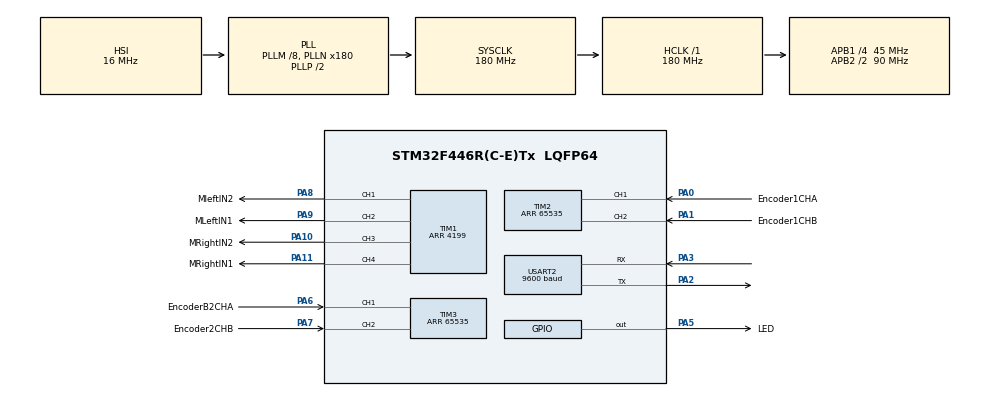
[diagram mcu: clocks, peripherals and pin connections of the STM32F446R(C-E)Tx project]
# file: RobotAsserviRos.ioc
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Mcu.Family=STM32F4
Mcu.Name=STM32F446R(C-E)Tx
Mcu.Package=LQFP64
NVIC.PriorityGroup=NVIC_PRIORITYGROUP_0
NVIC.TIM7_IRQn=true\:0\:0\:false\:false\:true\:true\:true
PA0-WKUP.GPIO_Label=Encoder1CHA
PA0-WKUP.Signal=S_TIM2_CH1_ETR
PA1.GPIO_Label=Encoder1CHB
PA1.Signal=S_TIM2_CH2
PA10.GPIO_Label=MRightIN2
PA10.Signal=S_TIM1_CH3
PA11.GPIO_Label=MRightIN1
PA11.Signal=S_TIM1_CH4
PA2.Mode=Asynchronous
PA2.Signal=USART2_TX
PA3.Mode=Asynchronous
PA3.Signal=USART2_RX
PA5.GPIO_Label=LED
PA5.Signal=GPIO_Output
PA6.GPIO_Label=EncoderB2CHA
PA6.Signal=S_TIM3_CH1
PA7.GPIO_Label=Encoder2CHB
PA7.Signal=S_TIM3_CH2
PA8.GPIO_Label=MleftIN2
PA8.Signal=S_TIM1_CH1
PA9.GPIO_Label=MLeftIN1
PA9.Signal=S_TIM1_CH2
ProjectManager.HeapSize=0x200
ProjectManager.StackSize=0x400
ProjectManager.TargetToolchain=MDK-ARM V5
RCC.48MHZClocksFreq_Value=84000000
RCC.AHBFreq_Value=180000000
RCC.APB1CLKDivider=RCC_HCLK_DIV4
RCC.APB1Freq_Value=45000000
RCC.APB1TimFreq_Value=90000000
RCC.APB2CLKDivider=RCC_HCLK_DIV2
RCC.APB2Freq_Value=90000000
RCC.APB2TimFreq_Value=180000000
RCC.CortexFreq_Value=180000000
RCC.FLatency-AdvancedSettings=FLASH_LATENCY_5
RCC.HCLKFreq_Value=180000000
RCC.HSE_VALUE=8000000
RCC.HSI_VALUE=16000000
RCC.PLLM=8
RCC.PLLN=180
RCC.SYSCLKFreq_VALUE=180000000
RCC.SYSCLKSource=RCC_SYSCLKSOURCE_PLLCLK
RCC.USBFreq_Value=180000000
RCC.VCOOutputFreq_Value=360000000
SH.S_TIM1_CH1.0=TIM1_CH1,PWM Generation1 CH1
SH.S_TIM1_CH2.0=TIM1_CH2,PWM Generation2 CH2
SH.S_TIM1_CH3.0=TIM1_CH3,PWM Generation3 CH3
SH.S_TIM1_CH4.0=TIM1_CH4,PWM Generation4 CH4
SH.S_TIM2_CH1_ETR.0=TIM2_CH1,Encoder_Interface
SH.S_TIM2_CH2.0=TIM2_CH2,Encoder_Interface
SH.S_TIM3_CH1.0=TIM3_CH1,Encoder_Interface
SH.S_TIM3_CH2.0=TIM3_CH2,Encoder_Interface
TIM1.Channel-PWM\ Generation1\ CH1=TIM_CHANNEL_1
TIM1.Channel-PWM\ Generation2\ CH2=TIM_CHANNEL_2
TIM1.Channel-PWM\ Generation3\ CH3=TIM_CHANNEL_3
TIM1.Channel-PWM\ Generation4\ CH4=TIM_CHANNEL_4
TIM1.Period=4199
TIM2.EncoderMode=TIM_ENCODERMODE_TI12
TIM2.Period=65535
TIM3.EncoderMode=TIM_ENCODERMODE_TI12
TIM3.Period=65535
TIM7.Period=999
TIM7.Prescaler=83
USART2.BaudRate=9600
USART2.VirtualMode=VM_ASYNC
VP_TIM7_VS_ClockSourceINT.Mode=Enable_Timer
board=NUCLEO-F446RE

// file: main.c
/* USER CODE BEGIN Header */
/**
  ******************************************************************************
  * @file           : main.c
  * @brief          : Main program body
  ******************************************************************************
  * @attention
  *
  * <h2><center>&copy; Copyright (c) 2020 STMicroelectronics.
  * All rights reserved.</center></h2>
  *
  * This software component is licensed by ST under BSD 3-Clause license,
  * the "License"; You may not use this file except in compliance with the
  * License. You may obtain a copy of the License at:
  *                        opensource.org/licenses/BSD-3-Clause
  *
  ******************************************************************************
  */
/* USER CODE END Header */

#include "main.h"

/* USER CODE BEGIN Includes */
#include <stdio.h>
#include <stdlib.h>
#include <string.h>
#include <math.h>
/* USER CODE END Includes */

TIM_HandleTypeDef htim1;
TIM_HandleTypeDef htim2;
TIM_HandleTypeDef htim3;
TIM_HandleTypeDef htim7;

UART_HandleTypeDef huart2;

/* USER CODE BEGIN PV */

#define resolution 221.1f
#define presicion 4
#define PI 3.1415f
#define RayonR 62.5f
#define RayonL 62.5f
#define entraxe 149.0f
#define coefK 300//200
#define TIMEINTERVAL 1 // 0.01
#define KV 350
#define KI 0.00009
#define KD 5000

int enter =0;
int CountEntry = 0;
unsigned int TicksRightNow = 0;
unsigned int TicksLeftNow = 0;
unsigned int TicksRightPrev = 0;
unsigned int TicksLeftPrev = 0;
float	DistR =0.0f;
float DistL =0.0f;
int DiffR = 0.0;
int DiffL= 0.0;
float dR = 0.0f;
float dL = 0.0f;
float dC = 0.0f;
double X = 0.0;
double Y = 0.0;
double PHI = 0.0;
double PHI_degrees = 0.0;
float TargetDistance;
float CrtlR;
float CrtlL;
float PMWbaseR=1500;//1000
float PMWbaseL=1500;//1000
float PMWR;
float PMWL;
float erreur;
float PMWRMAX=4100;//3000
float PMWLMAX=4100;//3000
float PMWRMIN=700;//1000
float PMWLMIN=700;//1000
char s[20];
char ExtInfo1[20];
char ExtInfo2[20];
char ExtInfo3[20];
float VelocityRight ;
float VelocityLeft;
float DfVR;
float DfVL;
float Rv;
float Lv;
float Vmin = 0.05;
float Vmax = 0.25;
float VLeft;
float VRight;
float distnowR;
float distnowL;
float distprevR;
float distprevL;
float erreurIR;
float erreurIL;
int testV = 0;
float erreurPrevDR =0;
float erreurNowR;
float erreurPrevDL=0;
float erreurNowL;
float difDerivaR;
float difDerivaL;

int ErrAngle ;
float VrightC =0.4, VleftC=0.4 ;
double result;

/* USER CODE END PV */

void SystemClock_Config(void);
static void MX_GPIO_Init(void);
static void MX_TIM1_Init(void);
static void MX_TIM2_Init(void);
static void MX_TIM3_Init(void);
static void MX_TIM7_Init(void);
static void MX_USART2_UART_Init(void);
/* USER CODE BEGIN PFP */
void initEncoder(void);
float tickstoDistance(int,float);
float rad_to_deg(double);
void CalculationFunction(void);
void initMotors(void);
void RunForward(int,int);
void RunBackward(int,int);
void RunToGoal(int,int);
void Rotate(int,int);
void stopp(void);
void VelocityControl(int,int);
void VelocityAsserv(float,float);
void VelocityAsserv2(float,float);
void gotoXY(float);
void gotoXY2(float,float,float );
void Trapezy(float , float  ,float  , float  );
void Move(int,int,int);
int checkStop(void);
int CompareString(uint8_t*,char*,int);
void DataConverting(uint8_t*);
void ExtractInfo(uint8_t* ,int );
void HAL_TIM_PeriodElapsedCallback(TIM_HandleTypeDef *htim)
		{
			if (htim->Instance==TIM7) //check if the interrupt comes from TIM7
				{
					CalculationFunction();
					CountEntry++;
					//HAL_GPIO_TogglePin(GPIOA,GPIO_PIN_5);
				}

	}
/* USER CODE END PFP */

/* USER CODE BEGIN 0 */
uint8_t data[20]="75.5 66.6 90.0a";
uint8_t dataIn[30] ;
char  DataOut[20];
uint8_t	TestIn [20]="75.5a66.6a90.5a";
float Tab = 0.0 ,Tab2 = 0.0 ,Tab3 = 0.0;

/* USER CODE END 0 */

int main(void)
{

  /* MCU Configuration--------------------------------------------------------*/

  /* Reset of all peripherals, Initializes the Flash interface and the Systick. */
  HAL_Init();

  /* Configure the system clock */
  SystemClock_Config();

  /* Initialize all configured peripherals */
  MX_GPIO_Init();
  MX_TIM1_Init();
  MX_TIM2_Init();
  MX_TIM3_Init();
  MX_TIM7_Init();
  MX_USART2_UART_Init();
  /* USER CODE BEGIN 2 */
   HAL_TIM_Base_Start_IT(&htim7);
	 initEncoder();
	 initMotors();
	 stopp();
	//VelocityAsserv(0.6,0.3);
	 //gotoXY2(900,500,0.0);
	// HAL_Delay(1000);
	// gotoXY2(0,0,0.0);
	 //Move(1000,2000,2000);
	 //RunForward(1500,1500);
	// HAL_Delay(2000);
	 stopp();
	 /*ExtractInfo(TestIn,20);
	 Tab = atof(ExtInfo1);
	 Tab2 = atof(ExtInfo2);
	 Tab3 = atof(ExtInfo3);*/
  /* USER CODE END 2 */

  /* Infinite loop */
  while (1)
  {

    /* USER CODE BEGIN 3 */

		 //Communication Test
		/*HAL_UART_Receive(&huart2,(uint8_t*)dataIn,10,100);
		result = CompareString(dataIn,"abc",4);
		if( result)
		{
		HAL_GPIO_TogglePin(GPIOA,GPIO_PIN_5);
		HAL_Delay(100);
		result =  0;
		}*/

		HAL_UART_Receive(&huart2,(uint8_t*)dataIn,20,100);
		ExtractInfo(dataIn,20);
		Tab = atof(ExtInfo1);
	    Tab2 = atof(ExtInfo2);
		Tab3 = atof(ExtInfo3);
				if (( Tab == 0.5f)&&( Tab2 == 0.2f)&&( Tab3 == 0.3f))
				{
				HAL_GPIO_TogglePin(GPIOA,GPIO_PIN_5);
				HAL_Delay(100);
				//for (int i = 0 ; i<30;i++) dataIn[i] = 0;
				}
		//HAL_UART_Transmit(&huart2,data,20,1000);

	}
  /* USER CODE END 3 */
}

void SystemClock_Config(void)
{
  RCC_OscInitTypeDef RCC_OscInitStruct = {0};
  RCC_ClkInitTypeDef RCC_ClkInitStruct = {0};

  /** Configure the main internal regulator output voltage
  */
  __HAL_RCC_PWR_CLK_ENABLE();
  __HAL_PWR_VOLTAGESCALING_CONFIG(PWR_REGULATOR_VOLTAGE_SCALE1);
  /** Initializes the CPU, AHB and APB busses clocks
  */
  RCC_OscInitStruct.OscillatorType = RCC_OSCILLATORTYPE_HSI;
  RCC_OscInitStruct.HSIState = RCC_HSI_ON;
  RCC_OscInitStruct.HSICalibrationValue = RCC_HSICALIBRATION_DEFAULT;
  RCC_OscInitStruct.PLL.PLLState = RCC_PLL_ON;
  RCC_OscInitStruct.PLL.PLLSource = RCC_PLLSOURCE_HSI;
  RCC_OscInitStruct.PLL.PLLM = 8;
  RCC_OscInitStruct.PLL.PLLN = 180;
  RCC_OscInitStruct.PLL.PLLP = RCC_PLLP_DIV2;
  RCC_OscInitStruct.PLL.PLLQ = 2;
  RCC_OscInitStruct.PLL.PLLR = 2;
  if (HAL_RCC_OscConfig(&RCC_OscInitStruct) != HAL_OK)
  {
    Error_Handler();
  }
  /** Activate the Over-Drive mode
  */
  if (HAL_PWREx_EnableOverDrive() != HAL_OK)
  {
    Error_Handler();
  }
  /** Initializes the CPU, AHB and APB busses clocks
  */
  RCC_ClkInitStruct.ClockType = RCC_CLOCKTYPE_HCLK|RCC_CLOCKTYPE_SYSCLK
                              |RCC_CLOCKTYPE_PCLK1|RCC_CLOCKTYPE_PCLK2;
  RCC_ClkInitStruct.SYSCLKSource = RCC_SYSCLKSOURCE_PLLCLK;
  RCC_ClkInitStruct.AHBCLKDivider = RCC_SYSCLK_DIV1;
  RCC_ClkInitStruct.APB1CLKDivider = RCC_HCLK_DIV4;
  RCC_ClkInitStruct.APB2CLKDivider = RCC_HCLK_DIV2;

  if (HAL_RCC_ClockConfig(&RCC_ClkInitStruct, FLASH_LATENCY_5) != HAL_OK)
  {
    Error_Handler();
  }
}

static void MX_TIM1_Init(void)
{

  TIM_MasterConfigTypeDef sMasterConfig = {0};
  TIM_OC_InitTypeDef sConfigOC = {0};
  TIM_BreakDeadTimeConfigTypeDef sBreakDeadTimeConfig = {0};

  htim1.Instance = TIM1;
  htim1.Init.Prescaler = 0;
  htim1.Init.CounterMode = TIM_COUNTERMODE_UP;
  htim1.Init.Period = 4199;
  htim1.Init.ClockDivision = TIM_CLOCKDIVISION_DIV1;
  htim1.Init.RepetitionCounter = 0;
  htim1.Init.AutoReloadPreload = TIM_AUTORELOAD_PRELOAD_DISABLE;
  if (HAL_TIM_PWM_Init(&htim1) != HAL_OK)
  {
    Error_Handler();
  }
  sMasterConfig.MasterOutputTrigger = TIM_TRGO_RESET;
  sMasterConfig.MasterSlaveMode = TIM_MASTERSLAVEMODE_DISABLE;
  if (HAL_TIMEx_MasterConfigSynchronization(&htim1, &sMasterConfig) != HAL_OK)
  {
    Error_Handler();
  }
  sConfigOC.OCMode = TIM_OCMODE_PWM1;
  sConfigOC.Pulse = 0;
  sConfigOC.OCPolarity = TIM_OCPOLARITY_HIGH;
  sConfigOC.OCNPolarity = TIM_OCNPOLARITY_HIGH;
  sConfigOC.OCFastMode = TIM_OCFAST_DISABLE;
  sConfigOC.OCIdleState = TIM_OCIDLESTATE_RESET;
  sConfigOC.OCNIdleState = TIM_OCNIDLESTATE_RESET;
  if (HAL_TIM_PWM_ConfigChannel(&htim1, &sConfigOC, TIM_CHANNEL_1) != HAL_OK)
  {
    Error_Handler();
  }
  if (HAL_TIM_PWM_ConfigChannel(&htim1, &sConfigOC, TIM_CHANNEL_2) != HAL_OK)
  {
    Error_Handler();
  }
  if (HAL_TIM_PWM_ConfigChannel(&htim1, &sConfigOC, TIM_CHANNEL_3) != HAL_OK)
  {
    Error_Handler();
  }
  if (HAL_TIM_PWM_ConfigChannel(&htim1, &sConfigOC, TIM_CHANNEL_4) != HAL_OK)
  {
    Error_Handler();
  }
  sBreakDeadTimeConfig.OffStateRunMode = TIM_OSSR_DISABLE;
  sBreakDeadTimeConfig.OffStateIDLEMode = TIM_OSSI_DISABLE;
  sBreakDeadTimeConfig.LockLevel = TIM_LOCKLEVEL_OFF;
  sBreakDeadTimeConfig.DeadTime = 0;
  sBreakDeadTimeConfig.BreakState = TIM_BREAK_DISABLE;
  sBreakDeadTimeConfig.BreakPolarity = TIM_BREAKPOLARITY_HIGH;
  sBreakDeadTimeConfig.AutomaticOutput = TIM_AUTOMATICOUTPUT_DISABLE;
  if (HAL_TIMEx_ConfigBreakDeadTime(&htim1, &sBreakDeadTimeConfig) != HAL_OK)
  {
    Error_Handler();
  }
  HAL_TIM_MspPostInit(&htim1);

}

static void MX_TIM2_Init(void)
{

  TIM_Encoder_InitTypeDef sConfig = {0};
  TIM_MasterConfigTypeDef sMasterConfig = {0};

  htim2.Instance = TIM2;
  htim2.Init.Prescaler = 0;
  htim2.Init.CounterMode = TIM_COUNTERMODE_UP;
  htim2.Init.Period = 65535;
  htim2.Init.ClockDivision = TIM_CLOCKDIVISION_DIV1;
  htim2.Init.AutoReloadPreload = TIM_AUTORELOAD_PRELOAD_DISABLE;
  sConfig.EncoderMode = TIM_ENCODERMODE_TI12;
  sConfig.IC1Polarity = TIM_ICPOLARITY_RISING;
  sConfig.IC1Selection = TIM_ICSELECTION_DIRECTTI;
  sConfig.IC1Prescaler = TIM_ICPSC_DIV1;
  sConfig.IC1Filter = 0;
  sConfig.IC2Polarity = TIM_ICPOLARITY_RISING;
  sConfig.IC2Selection = TIM_ICSELECTION_DIRECTTI;
  sConfig.IC2Prescaler = TIM_ICPSC_DIV1;
  sConfig.IC2Filter = 0;
  if (HAL_TIM_Encoder_Init(&htim2, &sConfig) != HAL_OK)
  {
    Error_Handler();
  }
  sMasterConfig.MasterOutputTrigger = TIM_TRGO_RESET;
  sMasterConfig.MasterSlaveMode = TIM_MASTERSLAVEMODE_DISABLE;
  if (HAL_TIMEx_MasterConfigSynchronization(&htim2, &sMasterConfig) != HAL_OK)
  {
    Error_Handler();
  }

}

static void MX_TIM3_Init(void)
{

  TIM_Encoder_InitTypeDef sConfig = {0};
  TIM_MasterConfigTypeDef sMasterConfig = {0};

  htim3.Instance = TIM3;
  htim3.Init.Prescaler = 0;
  htim3.Init.CounterMode = TIM_COUNTERMODE_UP;
  htim3.Init.Period = 65535;
  htim3.Init.ClockDivision = TIM_CLOCKDIVISION_DIV1;
  htim3.Init.AutoReloadPreload = TIM_AUTORELOAD_PRELOAD_DISABLE;
  sConfig.EncoderMode = TIM_ENCODERMODE_TI12;
  sConfig.IC1Polarity = TIM_ICPOLARITY_RISING;
  sConfig.IC1Selection = TIM_ICSELECTION_DIRECTTI;
  sConfig.IC1Prescaler = TIM_ICPSC_DIV1;
  sConfig.IC1Filter = 0;
  sConfig.IC2Polarity = TIM_ICPOLARITY_RISING;
  sConfig.IC2Selection = TIM_ICSELECTION_DIRECTTI;
  sConfig.IC2Prescaler = TIM_ICPSC_DIV1;
  sConfig.IC2Filter = 0;
  if (HAL_TIM_Encoder_Init(&htim3, &sConfig) != HAL_OK)
  {
    Error_Handler();
  }
  sMasterConfig.MasterOutputTrigger = TIM_TRGO_RESET;
  sMasterConfig.MasterSlaveMode = TIM_MASTERSLAVEMODE_DISABLE;
  if (HAL_TIMEx_MasterConfigSynchronization(&htim3, &sMasterConfig) != HAL_OK)
  {
    Error_Handler();
  }

}

static void MX_TIM7_Init(void)
{

  TIM_MasterConfigTypeDef sMasterConfig = {0};

  htim7.Instance = TIM7;
  htim7.Init.Prescaler = 90;
  htim7.Init.CounterMode = TIM_COUNTERMODE_UP;
  htim7.Init.Period = 999;
  htim7.Init.AutoReloadPreload = TIM_AUTORELOAD_PRELOAD_DISABLE;
  if (HAL_TIM_Base_Init(&htim7) != HAL_OK)
  {
    Error_Handler();
  }
  sMasterConfig.MasterOutputTrigger = TIM_TRGO_RESET;
  sMasterConfig.MasterSlaveMode = TIM_MASTERSLAVEMODE_DISABLE;
  if (HAL_TIMEx_MasterConfigSynchronization(&htim7, &sMasterConfig) != HAL_OK)
  {
    Error_Handler();
  }

}

static void MX_USART2_UART_Init(void)
{

  huart2.Instance = USART2;
  huart2.Init.BaudRate = 9600;
  huart2.Init.WordLength = UART_WORDLENGTH_8B;
  huart2.Init.StopBits = UART_STOPBITS_1;
  huart2.Init.Parity = UART_PARITY_NONE;
  huart2.Init.Mode = UART_MODE_TX_RX;
  huart2.Init.HwFlowCtl = UART_HWCONTROL_NONE;
  huart2.Init.OverSampling = UART_OVERSAMPLING_16;
  if (HAL_UART_Init(&huart2) != HAL_OK)
  {
    Error_Handler();
  }

}

static void MX_GPIO_Init(void)
{
  GPIO_InitTypeDef GPIO_InitStruct = {0};

  /* GPIO Ports Clock Enable */
  __HAL_RCC_GPIOA_CLK_ENABLE();

  /*Configure GPIO pin Output Level */
  HAL_GPIO_WritePin(LED_GPIO_Port, LED_Pin, GPIO_PIN_RESET);

  /*Configure GPIO pin : LED_Pin */
  GPIO_InitStruct.Pin = LED_Pin;
  GPIO_InitStruct.Mode = GPIO_MODE_OUTPUT_PP;
  GPIO_InitStruct.Pull = GPIO_NOPULL;
  GPIO_InitStruct.Speed = GPIO_SPEED_FREQ_LOW;
  HAL_GPIO_Init(LED_GPIO_Port, &GPIO_InitStruct);

}

/* USER CODE BEGIN 4 */
void initEncoder()
{
	HAL_TIM_Encoder_Start(&htim2,TIM_CHANNEL_1);
	HAL_TIM_Encoder_Start(&htim3,TIM_CHANNEL_1);
	TIM2->CNT = 0;
	TIM3->CNT = 0;

}
void RunForward(int VR,int VL)
{
	__HAL_TIM_SetCompare(&htim1,TIM_CHANNEL_1,VR);
	__HAL_TIM_SetCompare(&htim1,TIM_CHANNEL_2,0);
	__HAL_TIM_SetCompare(&htim1,TIM_CHANNEL_3,VL);
	__HAL_TIM_SetCompare(&htim1,TIM_CHANNEL_4,0);

}
void RunBackward(int VR,int VL)
{
	__HAL_TIM_SetCompare(&htim1,TIM_CHANNEL_1,0);
	__HAL_TIM_SetCompare(&htim1,TIM_CHANNEL_2,VR);
	__HAL_TIM_SetCompare(&htim1,TIM_CHANNEL_3,0);
	__HAL_TIM_SetCompare(&htim1,TIM_CHANNEL_4,VL);

}

void Rotate(int VR,int Sens)
{		if (Sens>0){
	__HAL_TIM_SetCompare(&htim1,TIM_CHANNEL_1,VR);
	__HAL_TIM_SetCompare(&htim1,TIM_CHANNEL_2,0);
	__HAL_TIM_SetCompare(&htim1,TIM_CHANNEL_3,0);
	__HAL_TIM_SetCompare(&htim1,TIM_CHANNEL_4,0);
			}
else{
	__HAL_TIM_SetCompare(&htim1,TIM_CHANNEL_1,0);
	__HAL_TIM_SetCompare(&htim1,TIM_CHANNEL_2,0);
	__HAL_TIM_SetCompare(&htim1,TIM_CHANNEL_3,VR);
	__HAL_TIM_SetCompare(&htim1,TIM_CHANNEL_4,0);
}

}
void RunToGoal(int VR,int VL)
{

	if ((VR>0)&&(VL>0)){
	__HAL_TIM_SetCompare(&htim1,TIM_CHANNEL_1,VR);
	__HAL_TIM_SetCompare(&htim1,TIM_CHANNEL_2,0);
	__HAL_TIM_SetCompare(&htim1,TIM_CHANNEL_3,VL);
	__HAL_TIM_SetCompare(&htim1,TIM_CHANNEL_4,0);
			}
else if ((VR<0)&&(VL>0)) {
	__HAL_TIM_SetCompare(&htim1,TIM_CHANNEL_1,0);
	__HAL_TIM_SetCompare(&htim1,TIM_CHANNEL_2,-VR);
	__HAL_TIM_SetCompare(&htim1,TIM_CHANNEL_3,VL);
	__HAL_TIM_SetCompare(&htim1,TIM_CHANNEL_4,0);
}
else if ((VR>0)&&(VL<0)) {
	__HAL_TIM_SetCompare(&htim1,TIM_CHANNEL_1,VR);
	__HAL_TIM_SetCompare(&htim1,TIM_CHANNEL_2,0);
	__HAL_TIM_SetCompare(&htim1,TIM_CHANNEL_3,0);
	__HAL_TIM_SetCompare(&htim1,TIM_CHANNEL_4,-VL);
}

else if ((VR<0)&&(VL<0)) {
	__HAL_TIM_SetCompare(&htim1,TIM_CHANNEL_1,0);
	__HAL_TIM_SetCompare(&htim1,TIM_CHANNEL_2,-VR);
	__HAL_TIM_SetCompare(&htim1,TIM_CHANNEL_3,0);
	__HAL_TIM_SetCompare(&htim1,TIM_CHANNEL_4,-VL);
}

}

void stopp()
{
	__HAL_TIM_SetCompare(&htim1,TIM_CHANNEL_1,0);
	__HAL_TIM_SetCompare(&htim1,TIM_CHANNEL_2,0);
	__HAL_TIM_SetCompare(&htim1,TIM_CHANNEL_3,0);
	__HAL_TIM_SetCompare(&htim1,TIM_CHANNEL_4,0);
}
void initMotors()
{
	HAL_TIM_PWM_Start(&htim1,TIM_CHANNEL_1);
	HAL_TIM_PWM_Start(&htim1,TIM_CHANNEL_2);
	HAL_TIM_PWM_Start(&htim1,TIM_CHANNEL_3);
	HAL_TIM_PWM_Start(&htim1,TIM_CHANNEL_4);
	stopp();

}
float tickstoDistance(int ticks,float R)
{
	return((PI*R*ticks)/(resolution*presicion));
}
float rad_to_deg(double x){
			return(x*360/(2*PI));
		}
float deg_to_rad(double x){
			return(x*PI/(180));
		}
void CalculationFunction()
{

			TicksRightNow = TIM2->CNT ;
			TicksLeftNow = TIM3->CNT ;

			//DistR = tickstoDistance(TicksRightNow,RayonR);
			//DistL = tickstoDistance(TicksLeftNow,RayonL);

			DiffR = (TicksRightNow - TicksRightPrev);
			DiffL =(TicksLeftNow - TicksLeftPrev);
			TicksRightPrev = TicksRightNow;
			TicksLeftPrev  = TicksLeftNow;

			if (DiffR > 50000)
			{
			   DiffR = DiffR - 65535 ;
			}
			else if (DiffR < -50000)
			{
			   DiffR = DiffR + 65535 ;
			}

			if (DiffL > 50000)
			{
			   DiffL = DiffL - 65535 ;
			}
			else if (DiffL < -50000)
			{
			   DiffL = DiffL + 65535 ;
			}

			dR = tickstoDistance(DiffR,RayonR);
			dL = tickstoDistance(DiffL,RayonL);
			dC = (dR + dL)/2;

			DistR += dR;
			DistL += dL;
		//	if (CountEntry >1)
		//	{
				distnowR = DistR;
				distnowL = DistL;
			//VelocityRight = ((distnowR - distprevR) * 0.001) / (1000*TIMEINTERVAL) ;
			//VelocityLeft =  ((distnowL - distprevL) * 0.001) / (1000*TIMEINTERVAL) ;
			VelocityRight = ((distnowR - distprevR) * 0.001) / (0.001*TIMEINTERVAL) ;
			VelocityLeft =  ((distnowL - distprevL) * 0.001) / (0.001*TIMEINTERVAL) ;
				//CountEntry = 0;
				distprevR = DistR;
				distprevL = DistL;
				enter++;
		//	}
			// odometry :
			X += dC*cos(PHI);
			Y += dC*sin(PHI);
			PHI += ((dR-dL)/entraxe);
			PHI_degrees = rad_to_deg(PHI);
			while (PHI>PI)
			{
				PHI -= 2*PI;
			}
			while (PHI<-PI)
			{
				PHI += 2*PI;
			}

}

void VelocityControl(int VR,int VL)
{
	if (VR>PMWRMAX)  PMWR = PMWRMAX;
	if (VL>PMWLMAX)  PMWL = PMWLMAX;
	if (VR<PMWRMIN)  PMWR = PMWRMIN;
	if (VL<PMWLMIN)  PMWL = PMWLMIN;

}
int checkStop()
{
	if ((DistR<TargetDistance-3) || (DistL<TargetDistance-3)) return (1);
	else if ((DistR>TargetDistance+5) || (DistL>TargetDistance+5)) return (1);
	else  return (0);

}
int signe(float x)
{
	if (x>0) return (1);
	if (x<0) return (-1);
	else return (0);
}

void Trapezy(float VRM , float VLM ,float Tar , float DistBegin )
{
	if (fabs(DistR) <= fabs(DistBegin)) PMWR = PMWbaseR + ((VRM-PMWbaseR)/DistBegin) * DistR;
	if (fabs(DistL) <= fabs(DistBegin)) PMWL = PMWbaseR + ((VLM-PMWbaseL)/DistBegin) * DistL;

	if (fabs(DistR) > fabs(Tar) - fabs(DistBegin)) PMWR = VRM - ((VRM-PMWbaseR)/DistBegin) * (DistR -(fabs(Tar) - fabs(DistBegin)));
	if (fabs(DistL) > fabs(Tar) - fabs(DistBegin)) PMWL = VLM - ((VLM-PMWbaseL)/DistBegin) * (DistL -(fabs(Tar) - fabs(DistBegin)));

}
void VelocityAsserv(float V1 ,float V2 )
{
	//PMWbaseR*=signe(PMWbaseR);
	//PMWbaseL*=signe(PMWbaseL);
	PMWR = PMWbaseR;
	PMWL = PMWbaseL;

		RunToGoal(PMWbaseR,PMWbaseL);
	  while (1)//(DistR < 1000)
		{ //Trapezy(500);
			DfVR =  V1-VelocityRight  ;
			DfVL = V2-VelocityLeft ;
			if (DfVR>10) testV = 12;
			else testV = 1;
			if (DfVL>10) testV=12 ;
			else testV=1;
			erreurIR += DfVR;
			erreurIL += DfVL;
			difDerivaR =  erreurNowR-erreurPrevDR ;
			difDerivaL =  erreurNowL-erreurPrevDL ;
			Rv = KV*DfVR + KI * erreurIR +KD * difDerivaR;
			Lv = KV*DfVL + KI * erreurIL +KD * difDerivaL;

			PMWR = PMWR + Rv ;
			PMWL = PMWL + Lv ;
			VelocityControl(PMWR,PMWL);
			RunToGoal(PMWR,PMWL);

		}
		stopp();

}

/*void roll (float angle )
{	int sens;
	float DistanceToGo = (entraxe/2) * deg_to_rad(angle) ;
	if (angle>0) sens = 1;
	else sens = -1;

	while ((DistR < DistanceToGo-2) &&)
}*/
void VelocityAsserv2(float V1 ,float V2 )
{
	//PMWbaseR*=signe(PMWbaseR);
	//PMWbaseL*=signe(PMWbaseL);
	PMWR = PMWbaseR;
	PMWL = PMWbaseL;

	  //(DistR < 1000)
		 //Trapezy(500);
			DfVR =  V1-VelocityRight  ;
			DfVL = V2-VelocityLeft ;
			if (DfVR>10) testV = 12;
			else testV = 1;
			if (DfVL>10) testV=12 ;
			else testV=1;
			erreurIR += DfVR;
			erreurIL += DfVL;
			difDerivaR =  erreurNowR-erreurPrevDR ;
			difDerivaL =  erreurNowL-erreurPrevDL ;
			Rv = KV*DfVR + KI * erreurIR +KD * difDerivaR;
			Lv = KV*DfVL + KI * erreurIL +KD * difDerivaL;
			if (V1 == 0.0) PMWR = 0.0;
			if (V2 == 0.0) PMWL = 0.0;
			PMWR = PMWR + Rv ;
			PMWL = PMWL + Lv ;
			VelocityControl(PMWR,PMWL);
			RunToGoal(PMWR,PMWL);

}
void gotoXY(float angle )
{
	int ErrAngle ;
	float VrightC =0.4, VleftC=0.4 ;
	while (1)
	{
			ErrAngle = angle - PHI_degrees ;

			VrightC += 0.7 * ErrAngle ;
			VleftC  += -VrightC;

			if (VrightC>1.4)  VrightC = 1.4;
			if (VleftC>1.4)  VleftC = 1.4;
			if (VrightC<0.4)  VrightC = 0.4;
			if (VleftC<0.4)  VleftC = 0.4;

			VelocityAsserv2(VrightC,VleftC);
	}
}

void gotoXY2(float XGoal,float YGoal,float angle )
{

		result = rad_to_deg(atan2((YGoal-Y),(XGoal-X)));
	while ((fabs(YGoal-Y)>5)||(fabs(XGoal-X)>5))
	{		result = rad_to_deg(atan2((YGoal-Y),(XGoal-X)));
			ErrAngle = result - PHI_degrees ;

			VrightC = 0.4 + 0.3 * ErrAngle ;
			VleftC  =  0.4 - 0.3 * ErrAngle;

			if (VrightC>1.5)  VrightC = 1.5;
			if (VleftC>1.5)  VleftC = 1.5;
			if (VrightC<0.2)  VrightC = 0.0;
			if (VleftC<0.2)  VleftC = 0.0;

			VelocityAsserv2(VrightC,VleftC);
	}
	stopp();
}

void Move(int Distance,int VR,int VL)
{
	int a ;
	//int Checked = 0;
	TargetDistance = Distance;

		if (Distance > 0 )
		{
			PMWR = PMWbaseR;
			PMWL = PMWbaseL;
				a = 1;
		}
		else
		{
			PMWR = -PMWbaseR;
			PMWL = -PMWbaseL;
			a = -1;
		}

	while ( ((DistR<TargetDistance-3) || (DistL<TargetDistance-3)))
	{	Trapezy(VR,VL,TargetDistance,250);

		erreur = fabs(DistR)- fabs(DistL) ;
		CrtlR = -coefK*erreur*a ;
		CrtlL = -CrtlR;

		PMWR += CrtlR;
		PMWL += CrtlL;

		VelocityControl(fabs(PMWR),fabs(PMWL));

		RunToGoal(PMWR,PMWL);
	}
/*
	while (Checked)
	{
		if ((DistR > TargetDistance+2) && (DistL > TargetDistance+2))
			{
				PMWR = -a*PMWRMIN;
				PMWL = -a*PMWLMIN;

			}
		if ((DistR > TargetDistance+2) && (DistL < TargetDistance-2))
				{
					PMWR = -a*PMWRMIN;
					PMWL = a*PMWLMIN;

				}
		if ((DistR < TargetDistance-2) && (DistL > TargetDistance+2))
					{
						PMWR = a*PMWRMIN;
						PMWL = -a*PMWLMIN;

					}
		if ((DistR < TargetDistance-2) && (DistL < TargetDistance-2))
						{
							PMWR = a*PMWRMIN;
							PMWL = a*PMWLMIN;

						}
		if ((DistR > TargetDistance-2) && (DistR < TargetDistance+2) && (DistL > TargetDistance-2) &&(DistL < TargetDistance+2))
			Checked = 1;

		RunToGoal(PMWR,PMWL);
	}
*/
	stopp();
}

int CompareString(uint8_t* Data,char* ch,int length)
{
	DataConverting(Data);
	 for(int i =0 ;i<length;i++)  if (DataOut[i] != ch[i]) return (0) ;
	return(1);
}
void DataConverting(uint8_t* Data)
{

		for (int i =0;i<20;i++)
		{
			DataOut[i]=(char)Data[i];
		}

}
void ExtractInfo(uint8_t* Data,int length)
{
	DataConverting(Data);
	int offsetInf = 0;
	int offsetSup = 0;
	int index = 0;
	int k =0;
	for(int i=0;i<length;i++)
	{
		if (DataOut[i] =='a')
		{

						switch (index)
						{
							case 0 :
							{
								for (int j = offsetInf;j<offsetSup;j++)
									{
										ExtInfo1[k] = DataOut[j];
										k++;
									}
									k=0;
									offsetInf = offsetSup+1;
									index++;
									break;
							}
							case 1 :
							{
								for (int j = offsetInf;j<offsetSup;j++)
									{
										ExtInfo2[k] = DataOut[j];
										k++;
									}
									k=0;
									offsetInf = offsetSup+1;
									index++;
									break;
							}
							case 2 :
							{
								for (int j = offsetInf;j<offsetSup;j++)
									{
										ExtInfo3[k] = DataOut[j];
										k++;
									}
									k=0;
									offsetInf = offsetSup+1;
									index++;
									break;
							}
						}
			offsetSup+=1;
		}
		else
			offsetSup++;
	}
}

/* USER CODE END 4 */

void Error_Handler(void)
{
}

/************************ (C) COPYRIGHT STMicroelectronics *****END OF FILE****/
